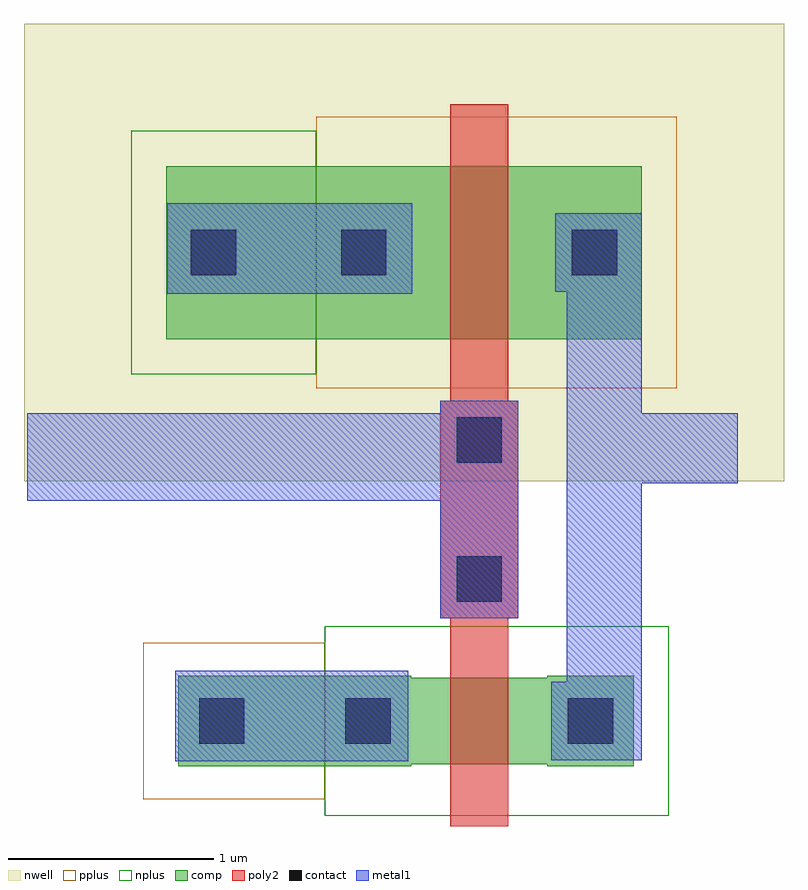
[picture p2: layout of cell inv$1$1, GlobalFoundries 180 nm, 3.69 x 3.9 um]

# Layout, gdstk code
from math import pi, radians
import gdstk
lib = gdstk.Library(unit=1e-6, precision=5e-09)
def R(c, l, rs):  # rectangles x0, y0, x1, y1
    for r in rs: c.add(gdstk.rectangle(r[:2], r[2:], *l))
def P(c, l, *ps):  # polygons
    for p in ps: c.add(gdstk.Polygon(p, *l))
nwell = (21, 0)
comp = (22, 0)
poly2 = (30, 0)
pplus = (31, 0)
nplus = (32, 0)
contact = (33, 0)
metal1 = (34, 0)

pfet_1_2 = lib.new_cell('pfet$1$2')
R(pfet_1_2, nwell, [(-1.15,-0.69,2.54,1.53)])
R(pfet_1_2, comp, [(-0.46,0,0,0.84), (0,0,0.66,0.84), (0.66,0,1.12,0.84), (1.12,0,1.85,0.84)])
R(pfet_1_2, poly2, [(0.19,-0.3,0.47,1.14), (0.14,1.14,0.52,1.52)])
R(pfet_1_2, pplus, [(-0.63,-0.24,1.12,1.08)])
R(pfet_1_2, nplus, [(1.12,-0.17,2.02,1.01)])
R(pfet_1_2, contact, [(-0.34,0.31,-0.12,0.53), (0.78,0.31,1,0.53), (1.51,0.31,1.73,0.53), (0.22,1.22,0.44,1.44)])
R(pfet_1_2, metal1, [(-0.42,0.23,-0.04,0.61), (0.7,0.23,1.08,0.61), (1.43,0.23,1.81,0.61), (0.14,1.14,0.52,1.52)])

nfet_1_1_1 = lib.new_cell('nfet$1$1$1')
R(nfet_1_1_1, comp, [(-0.42,-0.01,0,0.43), (0.66,-0.01,1.08,0.43), (1.08,-0.01,1.79,0.43), (0,0,0.66,0.42)])
R(nfet_1_1_1, poly2, [(0.19,-0.3,0.47,0.72), (0.15,0.72,0.51,1.08)])
R(nfet_1_1_1, pplus, [(1.08,-0.17,1.96,0.59)])
R(nfet_1_1_1, nplus, [(-0.59,-0.25,1.08,0.67)])
R(nfet_1_1_1, contact, [(-0.32,0.1,-0.1,0.32), (0.76,0.1,0.98,0.32), (1.47,0.1,1.69,0.32), (0.22,0.79,0.44,1.01)])
R(nfet_1_1_1, metal1, [(-0.4,0.02,-0.02,0.4), (0.68,0.02,1.06,0.4), (0.14,0.71,0.52,1.09)])

inv_1_1 = lib.new_cell('inv$1$1')
R(inv_1_1, poly2, [(0.355,0.135,0.735,1.19)])
R(inv_1_1, metal1, [(-0.93,-0.56,0.2,-0.12), (0.97,-0.555,1.335,2.1), (0.355,0.135,0.735,1.155), (-1.65,0.705,0.73,1.13), (0.97,0.79,1.8,1.13), (-0.97,1.71,0.22,2.15)])
P(inv_1_1, metal1, [(0.355,1.155),(0.355,1.155),(0.735,1.155),(0.735,1.155)])
inv_1_1.add(gdstk.Reference(pfet_1_2, (0.875,2.33), rotation=pi))
inv_1_1.add(gdstk.Reference(nfet_1_1_1, (0.875,-0.575), rotation=pi, x_reflection=True))

lib.write_gds('inv_1_1.gds')
